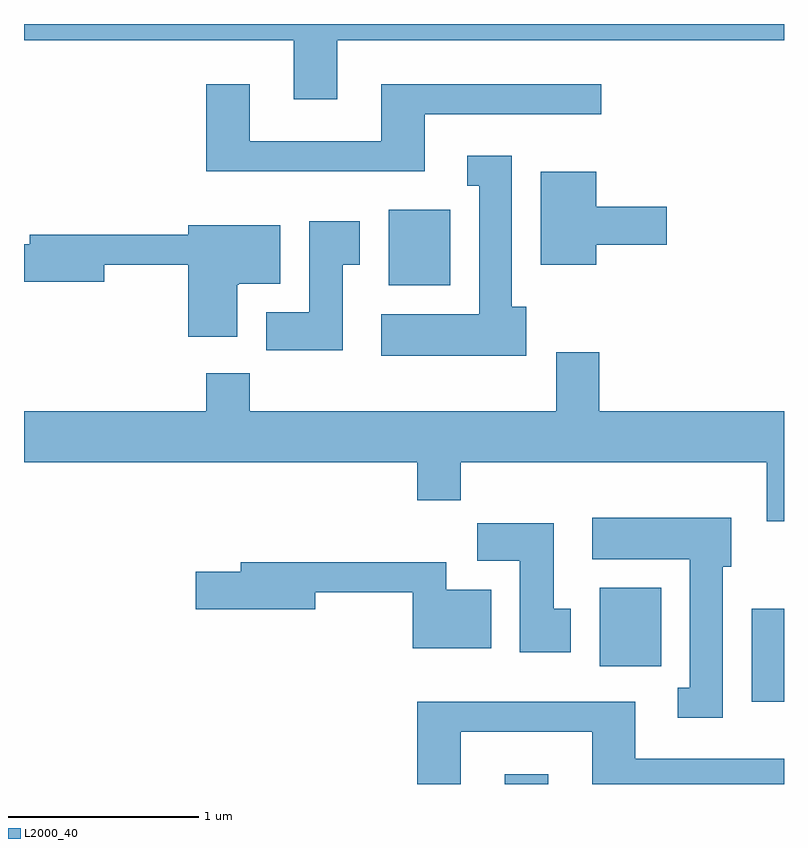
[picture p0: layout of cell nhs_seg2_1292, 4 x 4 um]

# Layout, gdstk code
import gdstk
lib = gdstk.Library(unit=1e-6, precision=1e-09)
def R(c, l, rs):  # rectangles x0, y0, x1, y1
    for r in rs: c.add(gdstk.rectangle(r[:2], r[2:], *l))
def P(c, l, *ps):  # polygons
    for p in ps: c.add(gdstk.Polygon(p, *l))
L2000_40 = (2000, 40)

nhs_seg2_1292 = lib.new_cell('nhs_seg2_1292')
R(nhs_seg2_1292, L2000_40, [(226.141,977.802,226.369,977.854), (227.441,978.236,227.611,978.724), (226.641,978.421,226.964,978.834), (225.531,980.426,225.854,980.824)])
P(nhs_seg2_1292, L2000_40, [(225.259,981.716),(227.611,981.716),(227.611,981.802),(223.611,981.802),(223.611,981.716),(225.031,981.716),(225.031,981.406),(225.259,981.406)],
  [(225.719,981.326),(226.648,981.326),(226.648,981.484),(225.491,981.484),(225.491,981.184),(224.799,981.184),(224.799,981.484),(224.571,981.484),(224.571,981.026),(225.719,981.026)],
  [(226.254,980.314),(226.179,980.314),(226.179,981.109),(225.943,981.109),(225.943,980.951),(226.006,980.951),(226.006,980.274),(225.491,980.274),(225.491,980.056),(226.254,980.056)],
  [(226.624,980.641),(226.994,980.641),(226.994,980.839),(226.624,980.839),(226.624,981.024),(226.331,981.024),(226.331,980.536),(226.624,980.536)],
  [(225.289,980.536),(225.379,980.536),(225.379,980.764),(225.111,980.764),(225.111,980.284),(224.886,980.284),(224.886,980.086),(225.289,980.086)],
  [(224.734,980.43),(224.74,980.43),(224.74,980.436),(224.959,980.436),(224.959,980.744),(224.476,980.744),(224.476,980.694),(223.641,980.694),(223.641,980.644),(223.611,980.644),(223.611,980.446),(224.034,980.446),(224.034,980.536),(224.476,980.536),(224.476,980.156),(224.734,980.156)],
  [(227.611,979.764),(226.639,979.764),(226.639,980.074),(226.411,980.074),(226.411,979.764),(224.799,979.764),(224.799,979.964),(224.571,979.964),(224.571,979.764),(223.611,979.764),(223.611,979.496),(225.681,979.496),(225.681,979.296),(225.909,979.296),(225.909,979.496),(227.521,979.496),(227.521,979.186),(227.611,979.186)],
  [(227.289,978.946),(227.334,978.946),(227.334,979.204),(226.601,979.204),(226.601,978.986),(227.116,978.986),(227.116,978.309),(227.053,978.309),(227.053,978.151),(227.289,978.151)],
  [(226.489,978.724),(226.399,978.724),(226.399,979.174),(225.996,979.174),(225.996,978.976),(226.221,978.976),(226.221,978.496),(226.489,978.496)],
  [(226.069,978.824),(225.834,978.824),(225.834,978.969),(224.751,978.969),(224.751,978.919),(224.516,978.919),(224.516,978.721),(225.144,978.721),(225.144,978.811),(225.656,978.811),(225.656,978.516),(226.069,978.516)],
  [(225.909,978.076),(226.601,978.076),(226.601,977.802),(227.611,977.802),(227.611,977.934),(226.829,977.934),(226.829,978.234),(225.681,978.234),(225.681,977.802),(225.909,977.802)])

lib.write_gds('nhs_seg2_1292.gds')
